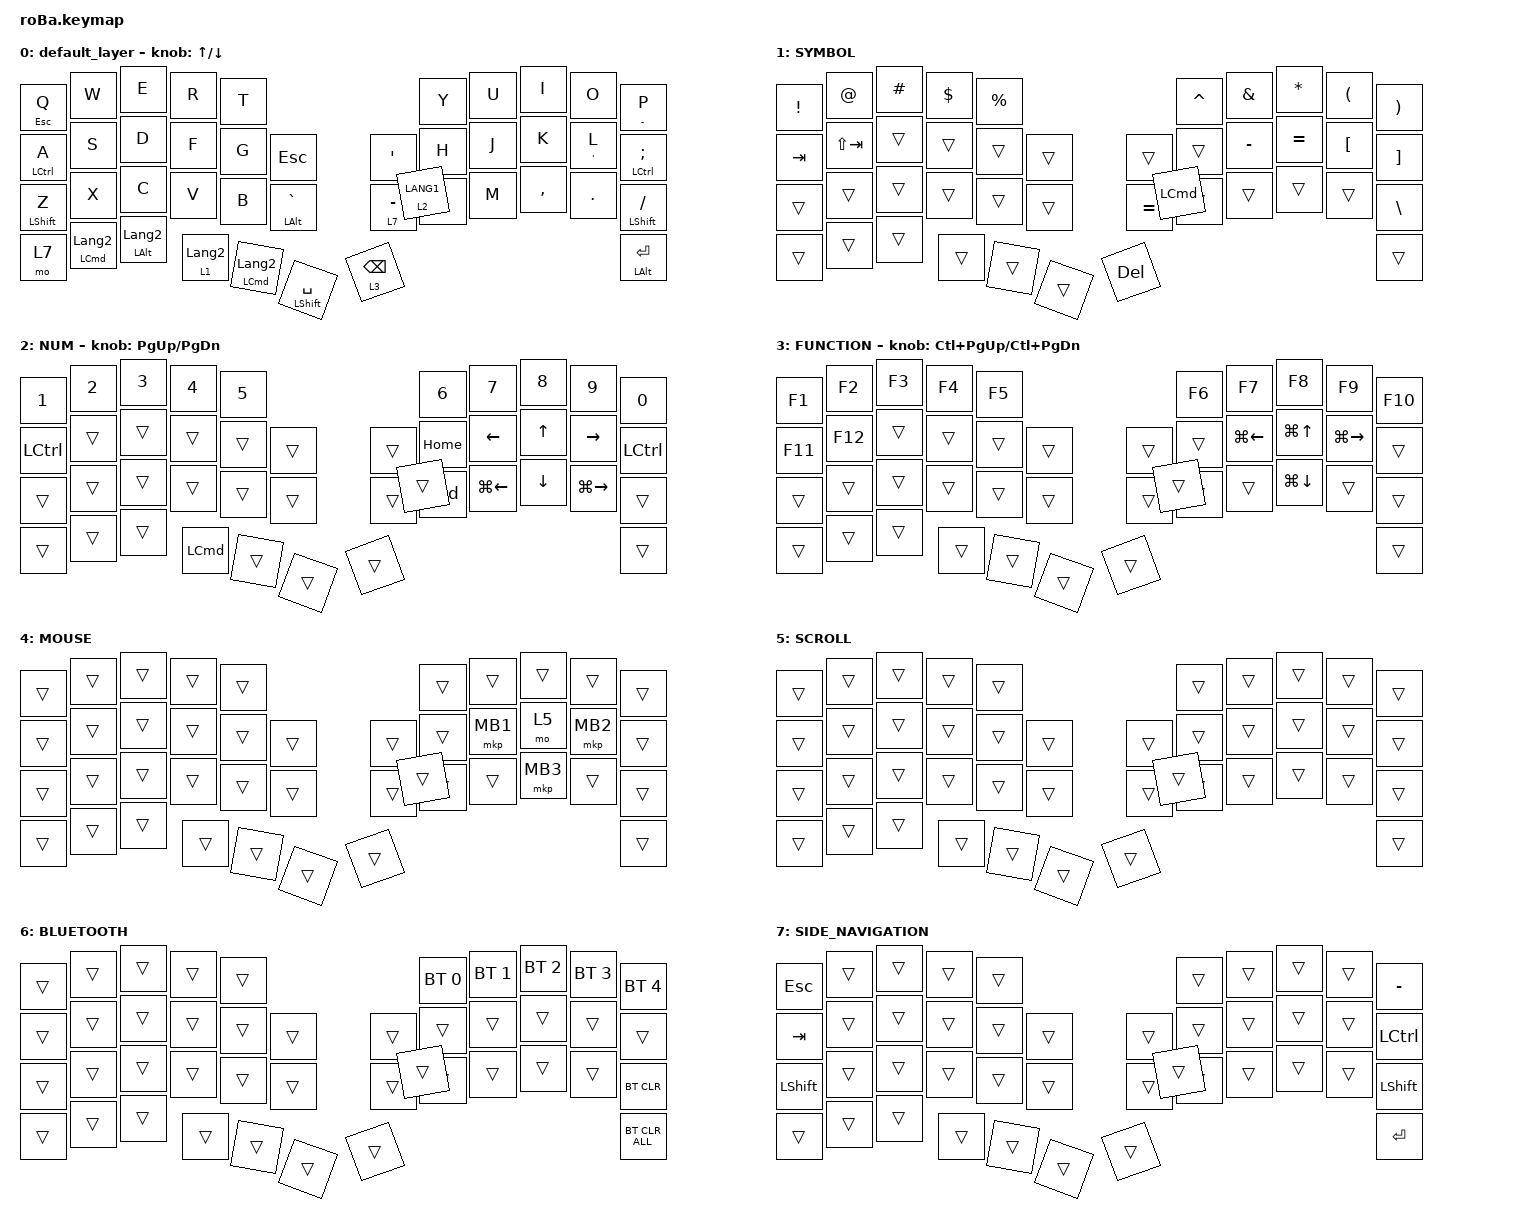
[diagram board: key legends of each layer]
#include <input/processors.dtsi>
#include <behaviors.dtsi>
#include <dt-bindings/zmk/bt.h>
#include <dt-bindings/zmk/keys.h>
#include <dt-bindings/zmk/pointing.h>

#define MOUSE 4
#define SCROLL 5
#define NUM 6

&mkp_input_listener { input-processors = <&zip_temp_layer 4 1500>; };

&mt {
    flavor = "balanced";
    tapping-term-ms = <200>;
    quick-tap-ms = <180>;
};

&lt {
    tapping-term-ms = <200>;
    quick-tap-ms = <180>;
    flavor = "balanced";
};

/ {
    combos {
        compatible = "zmk,combos";
        timeout-ms = <75>;

        tab {
            bindings = <&kp TAB>;
            key-positions = <13 12>;  // S+D キー
        };

        shift_tab {
            bindings = <&kp LS(TAB)>;
            key-positions = <2 3>;  // W+E キー
        };

        minus {
            bindings = <&kp MINUS>;
            key-positions = <6 7>;
        };

        eq {
            bindings = <&kp EQUAL>;
            key-positions = <7 8>;
        };

        escape {
            bindings = <&kp ESCAPE>;
            key-positions = <0 1>;
        };

        enter {
            bindings = <&kp ENTER>;
            key-positions = <18 19>;
        };

        enter_sub {
            bindings = <&kp ENTER>;
            key-positions = <32 33>;
        };

        BT_layer {
            bindings = <&mo 6>;
            key-positions = <37 39>;
        };
    };

    macros {
        rep_space: rep_space {
            compatible = "zmk,behavior-macro";
            #binding-cells = <0>;
            bindings = <&kp SPACE &key_repeat>;
            label = "REP_SPACE";
        };

        rep_backspace: rep_backspace {
            compatible = "zmk,behavior-macro";
            #binding-cells = <0>;
            bindings = <&kp BACKSPACE &key_repeat>;
            label = "REP_BACKSPACE";
        };

        exit_AML: exit_AML {
            compatible = "zmk,behavior-macro";
            wait-ms = <0>;
            tap-ms = <0>;
            #binding-cells = <0>;
            bindings = <&tog_off 4>;
            label = "exit_AML";
        };

        kp_exit_AML: kp_exit_AML {
            compatible = "zmk,behavior-macro-one-param";
            wait-ms = <0>;
            tap-ms = <0>;
            #binding-cells = <1>;
            bindings = <&macro_param_1to1 &kp MACRO_PLACEHOLDER &exit_AML>;
            label = "KP_exit_AML";
        };
    };

    behaviors {
        kp_and_kp: kp_and_kp {
            compatible = "zmk,behavior-hold-tap";
            label = "KP_AND_KP";
            bindings = <&kp>, <&kp>;

            #binding-cells = <2>;
            tapping-term-ms = <200>;
            quick-tap-ms = <180>;
            flavor = "tap-preferred";
        };

        layer_kp: layer_kp {
            compatible = "zmk,behavior-hold-tap";
            label = "LAYER_KP";
            bindings = <&mo>, <&kp>;

            #binding-cells = <2>;
            tapping-term-ms = <200>;
            quick-tap-ms = <180>;
            flavor = "tap-preferred";
        };

        tog_off: toggle_layer_off {
            compatible = "zmk,behavior-toggle-layer";
            #binding-cells = <1>;
            display-name = "Toggle Layer Off";
            toggle-mode = "off";
        };

        mt_exit_AML_on_tap: mt_exit_AML_on_tap {
            compatible = "zmk,behavior-hold-tap";
            label = "MT_exit_AML_ON_TAP";
            bindings = <&kp>, <&kp_exit_AML>;

            #binding-cells = <2>;
            tapping-term-ms = <200>;
            flavor = "balanced";
            quick-tap-ms = <200>;
        };
    };

    keymap {
        compatible = "zmk,keymap";

        default_layer {
            bindings = <
&mt ESCAPE Q                      &kp W                        &kp E                    &kp R             &kp T                                                                                &kp Y        &kp U  &kp I      &kp O               &mt MINUS P
&mt LEFT_CONTROL A                &kp S                        &kp D                    &kp F             &kp G                        &kp ESCAPE                       &kp SINGLE_QUOTE       &kp H        &kp J  &kp K      &mt SINGLE_QUOTE L  &mt LEFT_CONTROL SEMICOLON
&mt_exit_AML_on_tap LEFT_SHIFT Z  &kp X                        &kp C                    &kp V             &kp B                        &mt LEFT_ALT GRAVE               &lt 7 MINUS            &kp N        &kp M  &kp COMMA  &kp DOT             &mt LEFT_SHIFT SLASH
&mo 7                             &mt LEFT_COMMAND LANGUAGE_2  &mt LEFT_ALT LANGUAGE_2  &lt 1 LANGUAGE_2  &mt LEFT_COMMAND LANGUAGE_2  &kp_and_kp LEFT_SHIFT SPACE      &layer_kp 3 BACKSPACE  &lt 2 LANG1                                        &mt LEFT_ALT ENTER
            >;

            sensor-bindings = <&inc_dec_kp UP_ARROW DOWN>;
        };

        SYMBOL {
            bindings = <
&kp EXCLAMATION  &kp AT_SIGN  &kp HASH  &kp DOLLAR  &kp PERCENT                          &kp CARET         &kp AMPERSAND  &kp ASTERISK  &kp LEFT_PARENTHESIS  &kp RIGHT_PARENTHESIS
&kp TAB          &kp LS(TAB)  &trans    &trans      &trans       &trans      &trans      &trans            &kp MINUS      &kp EQUAL     &kp LEFT_BRACKET      &kp RIGHT_BRACKET
&trans           &trans       &trans    &trans      &trans       &trans      &kp EQUAL   &trans            &trans         &trans        &trans                &kp BACKSLASH
&trans           &trans       &trans    &trans      &trans       &trans      &kp DELETE  &kp LEFT_COMMAND                                                     &trans
            >;
        };

        NUM {
            bindings = <
&kp NUMBER_1      &kp NUMBER_2  &kp NUMBER_3  &kp NUMBER_4      &kp N5                      &kp NUMBER_6  &kp N7        &kp N8        &kp N9         &kp N0
&kp LEFT_CONTROL  &trans        &trans        &trans            &trans  &trans      &trans  &kp HOME      &kp LEFT      &kp UP_ARROW  &kp RIGHT      &kp LCTRL
&trans            &trans        &trans        &trans            &trans  &trans      &trans  &kp END       &kp LG(LEFT)  &kp DOWN      &kp LG(RIGHT)  &trans
&trans            &trans        &trans        &kp LEFT_COMMAND  &trans  &trans      &trans  &trans                                                   &trans
            >;

            sensor-bindings = <&inc_dec_kp PAGE_UP PAGE_DOWN>;
        };

        FUNCTION {
            bindings = <
&kp F1   &kp F2   &kp F3  &kp F4  &kp F5                      &kp F6  &kp F7        &kp F8            &kp F9         &kp F10
&kp F11  &kp F12  &trans  &trans  &trans  &trans      &trans  &trans  &kp LG(LEFT)  &kp LG(UP_ARROW)  &kp LG(RIGHT)  &trans
&trans   &trans   &trans  &trans  &trans  &trans      &trans  &trans  &trans        &kp LG(DOWN)      &trans         &trans
&trans   &trans   &trans  &trans  &trans  &trans      &trans  &trans                                                 &trans
            >;

            sensor-bindings = <&inc_dec_kp LC(PAGE_UP) LC(PAGE_DOWN)>;
        };

        MOUSE {
            bindings = <
&trans  &trans  &trans  &trans  &trans                      &trans  &trans    &trans    &trans    &trans
&trans  &trans  &trans  &trans  &trans  &trans      &trans  &trans  &mkp MB1  &mo 5     &mkp MB2  &trans
&trans  &trans  &trans  &trans  &trans  &trans      &trans  &trans  &trans    &mkp MB3  &trans    &trans
&trans  &trans  &trans  &trans  &trans  &trans      &trans  &trans                                &trans
            >;
        };

        SCROLL {
            bindings = <
&trans  &trans  &trans  &trans  &trans                      &trans  &trans  &trans  &trans  &trans
&trans  &trans  &trans  &trans  &trans  &trans      &trans  &trans  &trans  &trans  &trans  &trans
&trans  &trans  &trans  &trans  &trans  &trans      &trans  &trans  &trans  &trans  &trans  &trans
&trans  &trans  &trans  &trans  &trans  &trans      &trans  &trans                          &trans
            >;
        };

        BLUETOOTH {
            bindings = <
&trans  &trans  &trans  &trans  &trans                      &bt BT_SEL 0  &bt BT_SEL 1  &bt BT_SEL 2  &bt BT_SEL 3  &bt BT_SEL 4
&trans  &trans  &trans  &trans  &trans  &trans      &trans  &trans        &trans        &trans        &trans        &trans
&trans  &trans  &trans  &trans  &trans  &trans      &trans  &trans        &trans        &trans        &trans        &bt BT_CLR
&trans  &trans  &trans  &trans  &trans  &trans      &trans  &trans                                                  &bt BT_CLR_ALL
            >;
        };

        SIDE_NAVIGATION {
            bindings = <
&kp ESCAPE      &trans  &trans  &trans  &trans                      &trans  &trans  &trans  &trans  &kp MINUS
&kp TAB         &trans  &trans  &trans  &trans  &trans      &trans  &trans  &trans  &trans  &trans  &kp LEFT_CONTROL
&kp LEFT_SHIFT  &trans  &trans  &trans  &trans  &trans      &trans  &trans  &trans  &trans  &trans  &kp LEFT_SHIFT
&trans          &trans  &trans  &trans  &trans  &trans      &trans  &trans                          &kp ENTER
            >;
        };
    };
};
